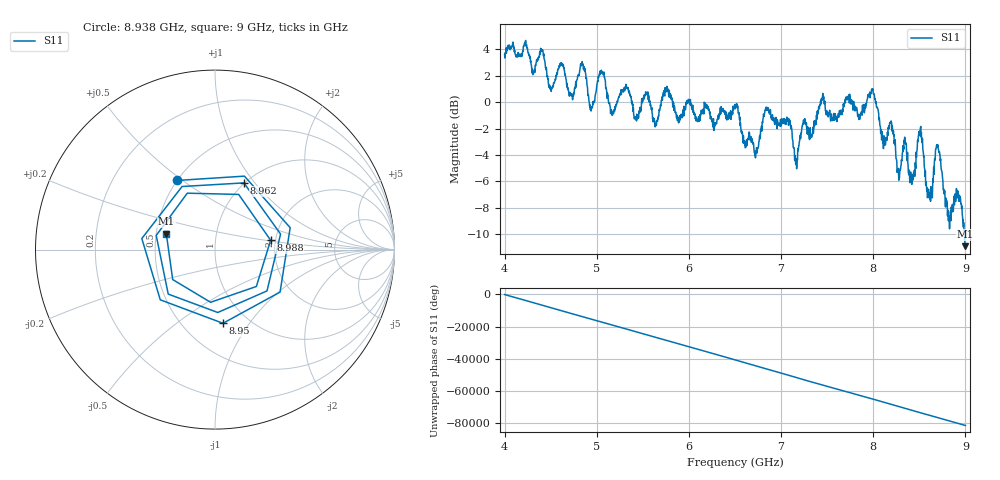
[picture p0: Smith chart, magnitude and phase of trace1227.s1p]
! Created with skrf 1.8.0 (http://scikit-rf.org).
# Hz S RI R 50.0
!freq ReS11 ImS11
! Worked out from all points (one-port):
!   1601 points, 4 GHz to 9 GHz, reference 50 ohm
!   lowest |S11| = -10.9 dB at 9 GHz (marker M1), VSWR 1.80, Z = 28.3 + j5.44 ohm
!   |S11| at or under -10 dB: 8.987601 GHz to end of sweep
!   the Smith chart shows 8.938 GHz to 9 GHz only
!   S11 on the Smith chart (normalised r, x): 8.938 GHz: 0.50, +0.48; 8.95 GHz: 0.77, -0.76; 8.962 GHz: 0.99, +0.88; 8.988 GHz: 1.88, +0.22; 9 GHz: 0.57, +0.11
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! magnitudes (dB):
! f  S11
! 4 GHz  3.6
! 4.503 GHz  0.9
! 4.625 GHz  2.8
! 4.722 GHz  0.5
! 4.85 GHz  2.9
! 4.941 GHz  -0.4
! 5.053 GHz  2.2
! 5.169 GHz  -1.0
! 5.25 GHz  0.6
! 5.875 GHz  -1.4
! 6.5 GHz  -0.5
! 6.728 GHz  -3.7
! 6.847 GHz  -0.6
! 7.125 GHz  -2.9
! 7.75 GHz  0.4
! 7.994 GHz  1.0
! 8.109 GHz  -3.5
! 8.375 GHz  -4.6
! 8.428 GHz  -5.6
! 8.509 GHz  -2.1
! 8.606 GHz  -7.1
! 8.7 GHz  -3.2
! 8.819 GHz  -8.8
! 8.938 GHz  -7.2
! 8.95 GHz  -7.7
! 8.962 GHz  -7.9
! 8.988 GHz  -10.1
! 9 GHz  -10.9
